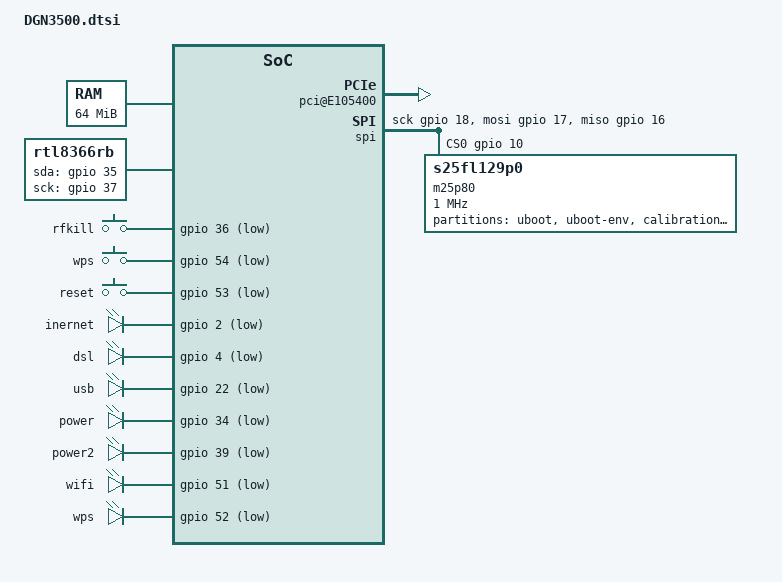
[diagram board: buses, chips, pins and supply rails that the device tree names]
/include/ "ar9.dtsi"

/ {
	chosen {
		bootargs = "console=ttyLTQ0,115200 init=/etc/preinit";
	};

	memory@0 {
		reg = <0x0 0x4000000>;
	};

	fpi@10000000 {
		gpio: pinmux@E100B10 {
			pinctrl-names = "default";
			pinctrl-0 = <&state_default>;

			state_default: pinmux {
				exin {
					lantiq,groups = "exin1";
					lantiq,function = "exin";
				};
				pci {
					lantiq,groups = "gnt1", "req1";
					lantiq,function = "pci";
				};
				pci-in {
					lantiq,groups = "req1";
					lantiq,output = <0>;
					lantiq,open-drain = <1>;
					lantiq,pull = <2>;
				};
				pci-out {
					lantiq,groups = "gnt1";
					lantiq,output = <1>;
					lantiq,pull = <0>;
				};
				spi-in {
					lantiq,pins = "io16";
					lantiq,open-drain = <1>;
					lantiq,pull = <2>;
				};
				spi-out {
					lantiq,pins = "io10", "io17", "io18", "io21";
					lantiq,open-drain = <0>;
					lantiq,pull = <2>;
				};
			};
		};

		etop@E180000 {
			phy-mode = "mii";
			mac-address = [ 00 11 22 33 44 55 ];
		};

		ifxhcd@E101000 {
			status = "okay";
		};

		pci@E105400 {
			status = "okay";

			lantiq,bus-clock = <33333333>;
			interrupt-map-mask = <0xf800 0x0 0x0 0x7>;
			interrupt-map = <0x7000 0 0 1 &icu0 30 1>;
			gpio-reset = <&gpio 21 0>;
			req-mask = <0x1>; /* GNT1 */
		};
	};

	spi {
		#address-cells = <1>;
		#size-cells = <1>;

		compatible = "spi-gpio";
		
		gpio-miso = <&gpio 16 0>;
		gpio-mosi = <&gpio 17 0>;
		gpio-sck = <&gpio 18 0>;
		num-chipselects = <1>;
		cs-gpios = <&gpio 10 0>;

		m25p80@0 {
			#address-cells = <1>;
			#size-cells = <1>;
			compatible = "s25fl129p0";
			reg = <0 0>;
			linux,modalias = "m25p80", "mx25l3205d";
			spi-max-frequency = <1000000>;
			spi-cpha;
			spi-cpol;
			spi-cs-high;

			partition@0 {
				reg = <0x0 0x10000>;
				label = "uboot";
				read-only;
			};

			partition@10000 {
				reg = <0x10000 0x10000>;
				label = "uboot-env";
				read-only;
			};

			partition@20000 {
				reg = <0x20000 0x10000>;
				label = "calibration";
				read-only;
			};

			partition@50000 {
				reg = <0x50000 0xfa0000>;
				label = "linux";
			};
		};
	};

	rtl8366rb {
		compatible = "rtl8366rb";
		gpio-sda = <&gpio 35 0>;
		gpio-sck = <&gpio 37 0>;
	};

	gpio-keys-polled {
		compatible = "gpio-keys-polled";
		#address-cells = <1>;
		#size-cells = <0>;
		poll-interval = <100>;
		
		rfkill {
			label = "rfkill";
			gpios = <&gpio 36 1>;
			linux,code = <0xf7>;
		};
		wps {
			label = "wps";
			gpios = <&gpio 54 1>;
			linux,code = <0x211>;
		};
		reset {
			label = "reset";
			gpios = <&gpio 53 1>;
			linux,code = <0x198>;
		};
	};

	gpio-leds {
		compatible = "gpio-leds";
		internet {
			label = "inernet";
			gpios = <&gpio 2 1>;
		};
		dsl {
			label = "dsl";
			gpios = <&gpio 4 1>;
		};
		usb {
			label = "usb";
			gpios = <&gpio 22 1>;
		};
		power {
			label = "power";
			gpios = <&gpio 34 1>;
			default-state = "on";
		};
		power2 {
			label = "power2";
			gpios = <&gpio 39 1>;
		};
		wifi {
			label = "wifi";
			gpios = <&gpio 51 1>;
		};
		wps {
			label = "wps";
			gpios = <&gpio 52 1>;
		};
	};
};
